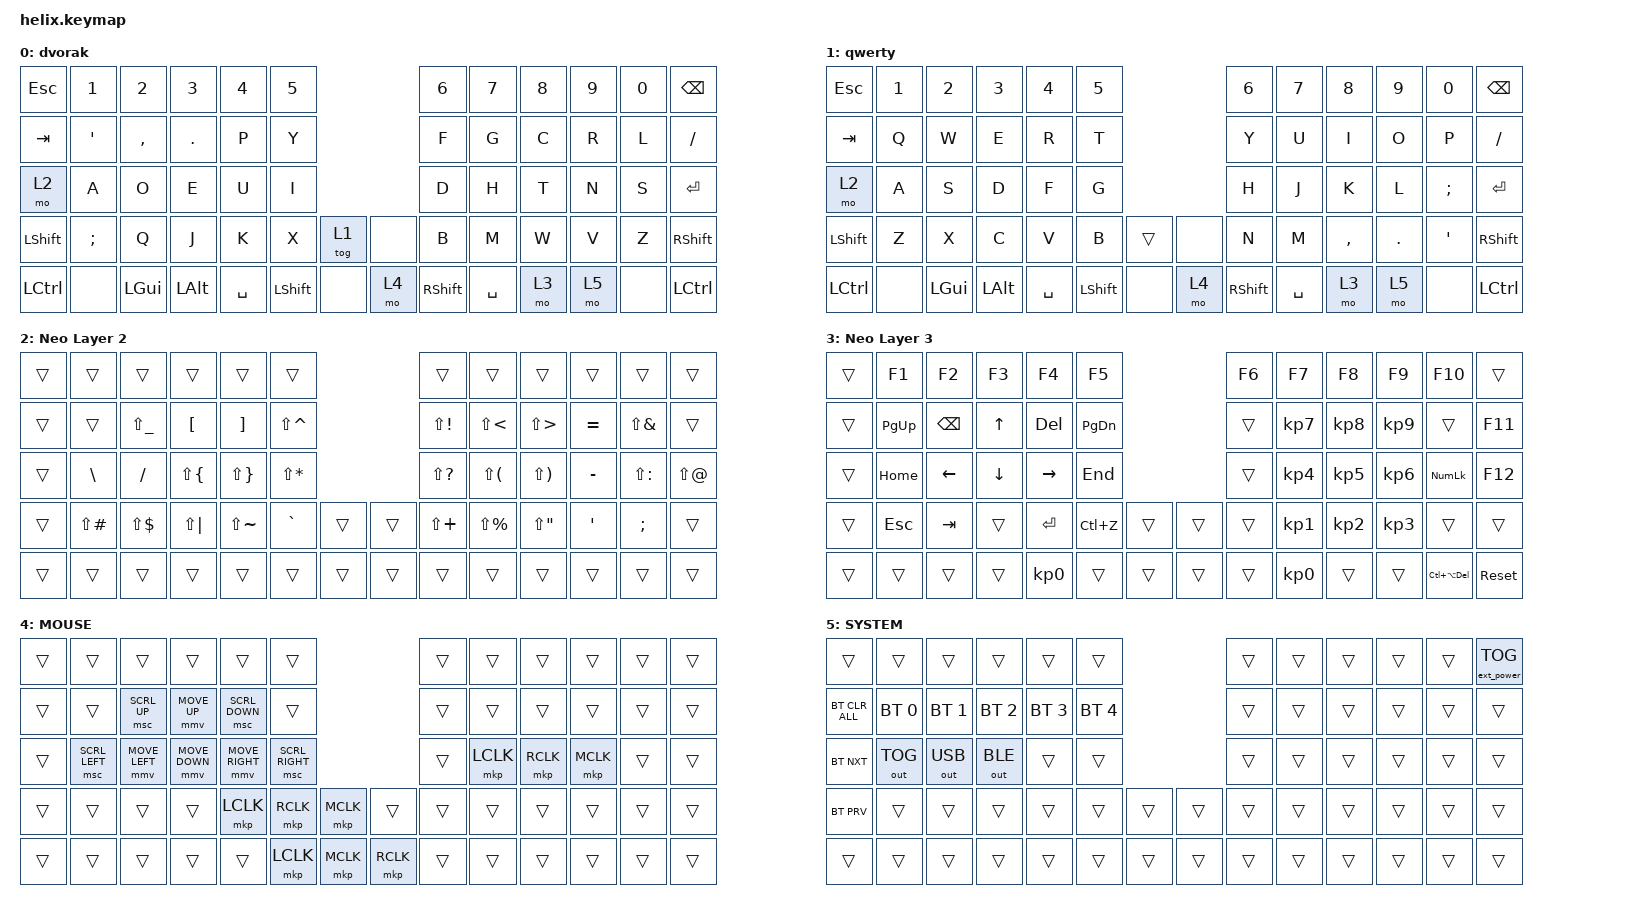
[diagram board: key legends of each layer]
/*
 * Copyright (c) 2020 The ZMK Contributors
 *
 * SPDX-License-Identifier: MIT
 */

#include <dt-bindings/zmk/mouse.h>
#include <behaviors.dtsi>
#include <dt-bindings/zmk/bt.h>
#include <dt-bindings/zmk/ext_power.h>
#include <dt-bindings/zmk/keys.h>
#include <dt-bindings/zmk/outputs.h>
#include <dt-bindings/zmk/pointing.h>

#define DEFAULT 0
#define LOWER   1
#define RAISE   2
#define MOUSE   3
#define ADJUST  4

/ {
    keymap {
        compatible = "zmk,keymap";

        default_layer {
            display-name = "dvorak";

            // -----------------------------------------------------------------------------------------
            // |  GRV  |   1   |   2   |   3   |   4   |   5   |               |   6   |   7   |   8   |   9   |   0   |  DEL  |
            // |  TAB  |   Q   |   W   |   E   |   R   |   T   |               |   Y   |   U   |   I   |   O   |   P   |  BSPC |
            // | CTRL  |   A   |   S   |   D   |   F   |   G   |               |   H   |   J   |   K   |   L   |   ;   |   '   |
            // | SHIFT |   Z   |   X   |   C   |   V   |   B   |  [ {  | ] }   |   N   |   M   |   ,   |   .   |   /   |  RET  |
            // |  ADJ  |  ESC  |  ALT  |  GUI  |MOU/BSP| LOWER | SPACE | ENTER | RAISE |  BSPC | LEFT  | DOWN  |  UP   | RIGHT |

            bindings = <
&kp ESCAPE  &kp N1            &kp N2        &kp N3      &kp N4     &kp N5                      &kp N6     &kp N7     &kp N8  &kp N9  &kp N0  &kp BACKSPACE
&kp TAB     &kp SINGLE_QUOTE  &kp COMMA     &kp PERIOD  &kp P      &kp Y                       &kp F      &kp G      &kp C   &kp R   &kp L   &kp SLASH
&mo 2       &kp A             &kp O         &kp E       &kp U      &kp I                       &kp D      &kp H      &kp T   &kp N   &kp S   &kp ENTER
&kp LSHFT   &kp SEMICOLON     &kp Q         &kp J       &kp K      &kp X      &tog 1    &none  &kp B      &kp M      &kp W   &kp V   &kp Z   &kp RIGHT_SHIFT
&kp LCTRL   &none             &kp LEFT_GUI  &kp LALT    &kp SPACE  &kp LSHFT  &none     &mo 4  &kp RSHFT  &kp SPACE  &mo 3   &mo 5   &none   &kp LCTRL
            >;
        };

        qwerty {
            display-name = "qwerty";
            bindings = <
&kp ESCAPE  &kp N1  &kp N2        &kp N3    &kp N4     &kp N5                      &kp N6     &kp N7     &kp N8     &kp N9   &kp N0    &kp BACKSPACE
&kp TAB     &kp Q   &kp W         &kp E     &kp R      &kp T                       &kp Y      &kp U      &kp I      &kp O    &kp P     &kp FSLH
&mo 2       &kp A   &kp S         &kp D     &kp F      &kp G                       &kp H      &kp J      &kp K      &kp L    &kp SEMI  &kp ENTER
&kp LSHFT   &kp Z   &kp X         &kp C     &kp V      &kp B      &trans    &none  &kp N      &kp M      &kp COMMA  &kp DOT  &kp SQT   &kp RIGHT_SHIFT
&kp LCTRL   &none   &kp LEFT_GUI  &kp LALT  &kp SPACE  &kp LSHFT  &none     &mo 4  &kp RSHFT  &kp SPACE  &mo 3      &mo 5    &none     &kp LCTRL
            >;
        };

        neo_layer_2 {
            display-name = "Neo Layer 2";

            // -----------------------------------------------------------------------------------------
            // |       |       |       |       |       |       |               |       |       |       |       |       |       |
            // |   ~   |   !   |   @   |   #   |   $   |   %   |               |   ^   |   &   |   *   |   (   |   )   |   |   |
            // |       |   `   |   -   |   =   |   [   |   ]   |               | LEFT  | DOWN  |  UP   | RIGHT |   \   |       |
            // |       |       |   _   |   +   |   {   |   }   |   (   |   )   | HOME  |  END  | PG_DN | PG_UP |       |       |
            // |       |       |       |       |       |       |       |       |       |       |       |       |       |       |

            bindings = <
&trans  &trans         &trans         &trans        &trans         &trans                           &trans         &trans         &trans        &trans     &trans         &trans
&trans  &trans         &kp LS(UNDER)  &kp LBKT      &kp RBKT       &kp LS(CARET)                    &kp LS(EXCL)   &kp LS(LT)     &kp LS(GT)    &kp EQUAL  &kp LS(AMPS)   &trans
&trans  &kp BSLH       &kp FSLH       &kp LS(LBRC)  &kp LS(RBRC)   &kp LS(STAR)                     &kp LS(QMARK)  &kp LS(LPAR)   &kp LS(RPAR)  &kp MINUS  &kp LS(COLON)  &kp LS(AT)
&trans  &kp LS(POUND)  &kp LS(DLLR)   &kp LS(PIPE)  &kp LS(TILDE)  &kp GRAVE      &trans    &trans  &kp LS(PLUS)   &kp LS(PRCNT)  &kp LS(DQT)   &kp SQT    &kp SEMI       &trans
&trans  &trans         &trans         &trans        &trans         &trans         &trans    &trans  &trans         &trans         &trans        &trans     &trans         &trans
            >;
        };

        neo_layer_3 {
            display-name = "Neo Layer 3";

            // -----------------------------------------------------------------------------------------
            // |       |       |       |       |       |       |               |       |       |       |       |       |       |
            // |       |   1   |   2   |   3   |   4   |   5   |               |   6   |   7   |   8   |   9   |   0   |  DEL  |
            // |       |  F1   |  F2   |  F3   |  F4   |  F5   |               |  F6   |   -   |   =   |   [   |   ]   |   \   |
            // |       |  F7   |  F8   |  F9   |  F10  |  F11  |  F12  |       |  F12  | PSCRN | PG_DN | PG_UP |       |       |
            // |       |       |       |       |       |       |       |       | NEXT  | VOL-  | VOL+  | PLAY  |       |       |

            bindings = <
&trans  &kp F1     &kp F2    &kp F3    &kp F4           &kp F5                       &kp F6  &kp F7           &kp F8           &kp F9           &kp F10             &trans
&trans  &kp PG_UP  &kp BSPC  &kp UP    &kp DEL          &kp PG_DN                    &trans  &kp KP_NUMBER_7  &kp KP_NUMBER_8  &kp KP_NUMBER_9  &trans              &kp F11
&trans  &kp HOME   &kp LEFT  &kp DOWN  &kp RIGHT        &kp END                      &trans  &kp KP_NUMBER_4  &kp KP_NUMBER_5  &kp KP_NUMBER_6  &kp KP_NUMLOCK      &kp F12
&trans  &kp ESC    &kp TAB   &trans    &kp RET          &kp LC(Z)  &trans    &trans  &trans  &kp KP_NUMBER_1  &kp KP_NUMBER_2  &kp KP_NUMBER_3  &trans              &trans
&trans  &trans     &trans    &trans    &kp KP_NUMBER_0  &trans     &trans    &trans  &trans  &kp KP_NUMBER_0  &trans           &trans           &kp LC(LA(DELETE))  &sys_reset
            >;
        };

        mouse_layer {
            display-name = "MOUSE";

            // Mouse movement on left ESDF cluster, scroll on W/R/A/G, clicks on thumbs and right JKL
            // -----------------------------------------------------------------------------------------
            // |       |       |       |       |       |       |               |       |       |       |       |       |       |
            // |       |       | SC_UP | MV_UP | SC_DN |       |               |       |       |       |       |       |       |
            // |       | SC_LT | MV_LT | MV_DN | MV_RT | SC_RT |               |       | LCLK  | RCLK  | MCLK  |       |       |
            // |       |       |       |       | LCLK  | RCLK  | MCLK  |       |       |       |       |       |       |       |
            // |       |       |       |       |       | LCLK  | MCLK  | RCLK  |       |       |       |       |       |       |

            bindings = <
&trans  &trans          &trans          &trans          &trans           &trans                                   &trans  &trans     &trans     &trans     &trans  &trans
&trans  &trans          &msc SCRL_UP    &mmv MOVE_UP    &msc SCRL_DOWN   &trans                                   &trans  &trans     &trans     &trans     &trans  &trans
&trans  &msc SCRL_LEFT  &mmv MOVE_LEFT  &mmv MOVE_DOWN  &mmv MOVE_RIGHT  &msc SCRL_RIGHT                          &trans  &mkp LCLK  &mkp RCLK  &mkp MCLK  &trans  &trans
&trans  &trans          &trans          &trans          &mkp LCLK        &mkp RCLK        &mkp MCLK    &trans     &trans  &trans     &trans     &trans     &trans  &trans
&trans  &trans          &trans          &trans          &trans           &mkp LCLK        &mkp MCLK    &mkp RCLK  &trans  &trans     &trans     &trans     &trans  &trans
            >;
        };

        adjust_layer {
            display-name = "SYSTEM";

            // Bluetooth profile selection, output toggle, power
            // -----------------------------------------------------------------------------------------
            // |       |       |       |       |       |       |               |       |       |       |       |       |EP_TOG |
            // |BT_CALL|BT_SEL0|BT_SEL1|BT_SEL2|BT_SEL3|BT_SEL4|               |       |       |       |       |       |       |
            // |BT_NXT |OUT_TOG|OUT_USB|OUT_BLE|       |       |               |       |       |       |       |       |       |
            // |BT_PRV |       |       |       |       |       |       |       |       |       |       |       |       |       |
            // |       |       |       |       |       |       |       |       |       |       |       |       |       |       |

            bindings = <
&trans          &trans        &trans        &trans        &trans        &trans                          &trans  &trans  &trans  &trans  &trans  &ext_power EP_TOG
&bt BT_CLR_ALL  &bt BT_SEL 0  &bt BT_SEL 1  &bt BT_SEL 2  &bt BT_SEL 3  &bt BT_SEL 4                    &trans  &trans  &trans  &trans  &trans  &trans
&bt BT_NXT      &out OUT_TOG  &out OUT_USB  &out OUT_BLE  &trans        &trans                          &trans  &trans  &trans  &trans  &trans  &trans
&bt BT_PRV      &trans        &trans        &trans        &trans        &trans        &trans    &trans  &trans  &trans  &trans  &trans  &trans  &trans
&trans          &trans        &trans        &trans        &trans        &trans        &trans    &trans  &trans  &trans  &trans  &trans  &trans  &trans
            >;
        };
    };
};
